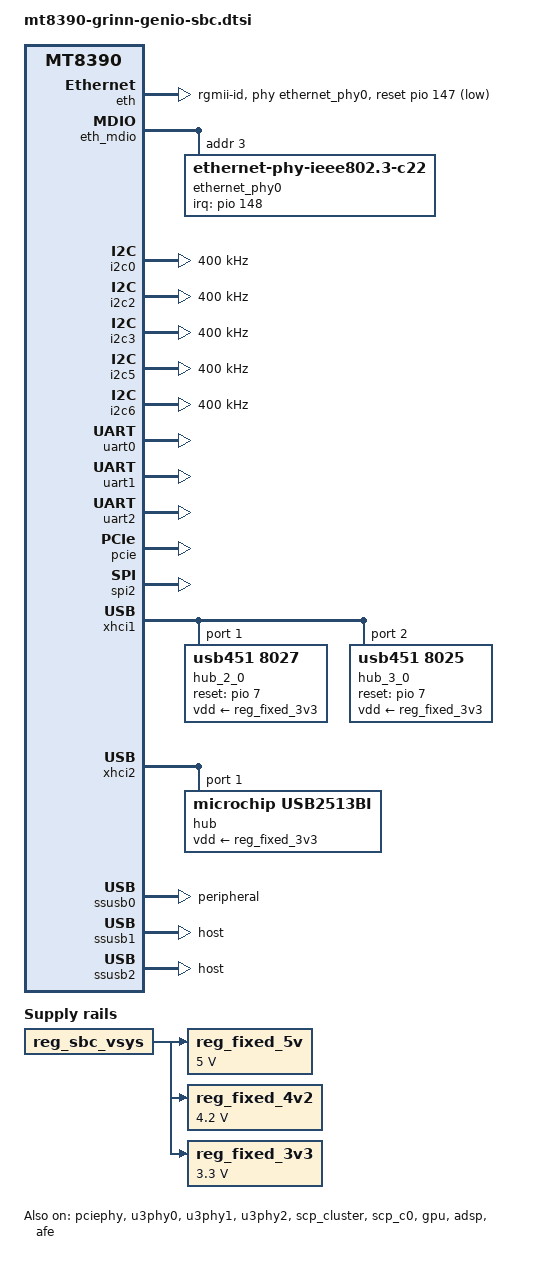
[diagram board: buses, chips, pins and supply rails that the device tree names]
// SPDX-License-Identifier: (GPL-2.0 OR MIT)
/*
 * Copyright (C) 2025 Grinn sp. z o.o.
 * Author: Mateusz Koza <mateusz.koza@grinn-global.com>
 */

#include <dt-bindings/gpio/gpio.h>

/ {
	chassis-type = "embedded";

	aliases {
		ethernet0 = &eth;
		i2c0 = &i2c0;
		i2c2 = &i2c2;
		i2c3 = &i2c3;
		i2c5 = &i2c5;
		i2c6 = &i2c6;
		serial0 = &uart0;
	};

	chosen {
		stdout-path = "serial0:921600n8";
	};

	firmware {
		optee {
			compatible = "linaro,optee-tz";
			method = "smc";
		};
	};

	reserved-memory {
		#address-cells = <2>;
		#size-cells = <2>;
		ranges;

		/*
		 * 12 MiB reserved for OP-TEE (BL32)
		 * +-----------------------+ 0x43e0_0000
		 * |      SHMEM 2MiB       |
		 * +-----------------------+ 0x43c0_0000
		 * |        | TA_RAM  8MiB |
		 * + TZDRAM +--------------+ 0x4340_0000
		 * |        | TEE_RAM 2MiB |
		 * +-----------------------+ 0x4320_0000
		 */
		optee_reserved: optee@43200000 {
			no-map;
			reg = <0 0x43200000 0 0x00c00000>;
		};

		scp_mem: memory@50000000 {
			compatible = "shared-dma-pool";
			reg = <0 0x50000000 0 0x2900000>;
			no-map;
		};

		/* 2 MiB reserved for ARM Trusted Firmware (BL31) */
		bl31_secmon_reserved: memory@54600000 {
			no-map;
			reg = <0 0x54600000 0x0 0x200000>;
		};

		apu_mem: memory@55000000 {
			compatible = "shared-dma-pool";
			reg = <0 0x55000000 0 0x1400000>; /* 20 MB */
		};

		vpu_mem: memory@57000000 {
			compatible = "shared-dma-pool";
			reg = <0 0x57000000 0 0x1400000>; /* 20 MB */
		};

		adsp_mem: memory@60000000 {
			compatible = "shared-dma-pool";
			reg = <0 0x60000000 0 0xf00000>;
			no-map;
		};

		afe_dma_mem: memory@60f00000 {
			compatible = "shared-dma-pool";
			reg = <0 0x60f00000 0 0x100000>;
			no-map;
		};

		adsp_dma_mem: memory@61000000 {
			compatible = "shared-dma-pool";
			reg = <0 0x61000000 0 0x100000>;
			no-map;
		};
	};

	reg_sbc_vsys: regulator-vsys {
		compatible = "regulator-fixed";
		regulator-name = "vsys";
		regulator-always-on;
		regulator-boot-on;
	};

	reg_fixed_5v: regulator-0 {
		compatible = "regulator-fixed";
		regulator-name = "fixed-5v0";
		regulator-min-microvolt = <5000000>;
		regulator-max-microvolt = <5000000>;
		enable-active-high;
		regulator-always-on;
		vin-supply = <&reg_sbc_vsys>;
	};

	reg_fixed_4v2: regulator-1 {
		compatible = "regulator-fixed";
		regulator-name = "fixed-4v2";
		regulator-min-microvolt = <4200000>;
		regulator-max-microvolt = <4200000>;
		enable-active-high;
		regulator-always-on;
		vin-supply = <&reg_sbc_vsys>;
	};

	reg_fixed_3v3: regulator-2 {
		compatible = "regulator-fixed";
		regulator-name = "fixed-3v3";
		regulator-min-microvolt = <3300000>;
		regulator-max-microvolt = <3300000>;
		enable-active-high;
		regulator-always-on;
		vin-supply = <&reg_sbc_vsys>;
	};
};

&pio {
	gpio-line-names =
	/*  0 -  4   */ "RPI_GPIO0", "RPI_GPIO1", "", "", "RPI_GPIO4",
	/*  5 -  9   */ "", "RPI_GPIO6", "", "", "RPI_GPIO9",
	/* 10 - 14   */ "RPI_GPIO10", "RPI_GPIO11", "", "", "",
	/* 15 - 19   */ "", "", "", "", "",
	/* 20 - 24   */ "", "RPI_GPIO21", "", "RPI_GPIO23", "",
	/* 25 - 29   */ "", "", "", "", "",
	/* 30 - 34   */ "RPI_GPIO30", "", "", "", "",
	/* 35 - 39   */ "RPI_GPIO35", "RPI_GPIO36", "", "", "",
	/* 40 - 44   */ "", "", "", "", "",
	/* 45 - 49   */ "", "", "", "", "",
	/* 50 - 54   */ "", "", "", "", "",
	/* 55 - 59   */ "RPI_GPIO55", "RPI_GPIO56", "", "", "RPI_GPIO59",
	/* 60 - 64   */ "RPI_GPIO60", "", "", "", "",
	/* 65 - 69   */ "", "", "", "", "RPI_GPIO69",
	/* 70 - 74   */ "", "", "RPI_GPIO72", "RPI_GPIO73", "RPI_GPIO74",
	/* 75 - 79   */ "", "", "", "", "RPI_GPIO79",
	/* 80 - 84   */ "RPI_GPIO80", "RPI_GPIO81", "RPI_GPIO82", "", "",
	/* 85 - 89   */ "", "", "", "", "",
	/* 90 - 94   */ "", "", "", "", "",
	/* 95 - 99   */ "", "", "", "", "",
	/*100 - 104  */ "", "", "", "", "",
	/*105 - 109  */ "", "", "", "", "",
	/*110 - 114  */ "", "", "", "", "",
	/*115 - 119  */ "", "", "", "", "",
	/*120 - 124  */ "", "RPI_GPIO121", "RPI_GPIO122", "RPI_GPIO123", "RPI_GPIO124";

	i2c0_pins: i2c0-pins {
		pins {
			pinmux = <PINMUX_GPIO56__FUNC_B1_SDA0>,
				 <PINMUX_GPIO55__FUNC_B1_SCL0>;
			bias-pull-up = <MTK_PULL_SET_RSEL_011>;
			drive-strength-microamp = <1000>;
		};
	};

	i2c2_pins: i2c2-pins {
		pins {
			pinmux = <PINMUX_GPIO60__FUNC_B1_SDA2>,
				 <PINMUX_GPIO59__FUNC_B1_SCL2>;
			bias-pull-up = <MTK_PULL_SET_RSEL_011>;
			drive-strength-microamp = <1000>;
		};
	};

	i2c3_pins: i2c3-pins {
		pins {
			pinmux = <PINMUX_GPIO62__FUNC_B1_SDA3>,
				 <PINMUX_GPIO61__FUNC_B1_SCL3>;
			bias-pull-up = <MTK_PULL_SET_RSEL_011>;
			drive-strength-microamp = <1000>;
		};
	};

	i2c5_pins: i2c5-pins {
		pins {
			pinmux = <PINMUX_GPIO66__FUNC_B1_SDA5>,
				 <PINMUX_GPIO65__FUNC_B1_SCL5>;
			bias-pull-up = <MTK_PULL_SET_RSEL_011>;
			drive-strength-microamp = <1000>;
		};
	};

	i2c6_pins: i2c6-pins {
		pins {
			pinmux = <PINMUX_GPIO68__FUNC_B1_SDA6>,
				 <PINMUX_GPIO67__FUNC_B1_SCL6>;
			bias-pull-up = <MTK_PULL_SET_RSEL_011>;
			drive-strength-microamp = <1000>;
		};
	};

	uart0_pins: uart0-pins {
		pins {
			pinmux = <PINMUX_GPIO31__FUNC_O_UTXD0>,
				 <PINMUX_GPIO32__FUNC_I1_URXD0>;
			bias-pull-up;
		};
	};

	uart1_pins: uart1-pins {
		pins {
			pinmux = <PINMUX_GPIO86__FUNC_O_UTXD1>,
				 <PINMUX_GPIO87__FUNC_I1_URXD1>;
			bias-pull-up;
		};
	};

	uart2_pins: uart2-pins {
		pins {
			pinmux = <PINMUX_GPIO35__FUNC_O_UTXD2>,
				 <PINMUX_GPIO36__FUNC_I1_URXD2>;
			bias-pull-up;
		};
	};

	pcie_pins_default: pcie-default {
		mux {
			pinmux = <PINMUX_GPIO47__FUNC_I1_WAKEN>,
				 <PINMUX_GPIO48__FUNC_O_PERSTN>,
				 <PINMUX_GPIO49__FUNC_B1_CLKREQN>;
			bias-pull-up;
		};
	};

	eth_default_pins: eth-default-pins {
		pins-cc {
			pinmux = <PINMUX_GPIO139__FUNC_B0_GBE_TXC>,
				 <PINMUX_GPIO140__FUNC_I0_GBE_RXC>,
				 <PINMUX_GPIO141__FUNC_I0_GBE_RXDV>,
				 <PINMUX_GPIO142__FUNC_O_GBE_TXEN>;
			drive-strength = <8>;
		};

		pins-mdio {
			pinmux = <PINMUX_GPIO143__FUNC_O_GBE_MDC>,
				 <PINMUX_GPIO144__FUNC_B1_GBE_MDIO>;
			drive-strength = <8>;
			input-enable;
		};

		pins-power {
			pinmux = <PINMUX_GPIO145__FUNC_B_GPIO145>,
				 <PINMUX_GPIO146__FUNC_B_GPIO146>;
			output-high;
		};

		pins-rxd {
			pinmux = <PINMUX_GPIO135__FUNC_I0_GBE_RXD3>,
				 <PINMUX_GPIO136__FUNC_I0_GBE_RXD2>,
				 <PINMUX_GPIO137__FUNC_I0_GBE_RXD1>,
				 <PINMUX_GPIO138__FUNC_I0_GBE_RXD0>;
			drive-strength = <8>;
		};

		pins-txd {
			pinmux = <PINMUX_GPIO131__FUNC_O_GBE_TXD3>,
				 <PINMUX_GPIO132__FUNC_O_GBE_TXD2>,
				 <PINMUX_GPIO133__FUNC_O_GBE_TXD1>,
				 <PINMUX_GPIO134__FUNC_O_GBE_TXD0>;
			drive-strength = <8>;
		};
	};

	eth_sleep_pins: eth-sleep-pins {
		pins-cc {
			pinmux = <PINMUX_GPIO139__FUNC_B_GPIO139>,
				 <PINMUX_GPIO140__FUNC_B_GPIO140>,
				 <PINMUX_GPIO141__FUNC_B_GPIO141>,
				 <PINMUX_GPIO142__FUNC_B_GPIO142>;
		};

		pins-mdio {
			pinmux = <PINMUX_GPIO143__FUNC_B_GPIO143>,
				 <PINMUX_GPIO144__FUNC_B_GPIO144>;
			input-disable;
			bias-disable;
		};

		pins-rxd {
			pinmux = <PINMUX_GPIO135__FUNC_B_GPIO135>,
				 <PINMUX_GPIO136__FUNC_B_GPIO136>,
				 <PINMUX_GPIO137__FUNC_B_GPIO137>,
				 <PINMUX_GPIO138__FUNC_B_GPIO138>;
		};

		pins-txd {
			pinmux = <PINMUX_GPIO131__FUNC_B_GPIO131>,
				 <PINMUX_GPIO132__FUNC_B_GPIO132>,
				 <PINMUX_GPIO133__FUNC_B_GPIO133>,
				 <PINMUX_GPIO134__FUNC_B_GPIO134>;
		};
	};

	spi2_pins: spi2-pins {
		pins-spi {
			pinmux = <PINMUX_GPIO79__FUNC_O_SPIM2_CSB>,
				<PINMUX_GPIO80__FUNC_O_SPIM2_CLK>,
				<PINMUX_GPIO81__FUNC_B0_SPIM2_MOSI>,
				<PINMUX_GPIO82__FUNC_B0_SPIM2_MISO>;
			bias-disable;
		};
	};

	audio_default_pins: audio-default-pins {
		pins-cmd-dat {
			pinmux = <PINMUX_GPIO121__FUNC_B0_PCM_CLK>,
				 <PINMUX_GPIO122__FUNC_B0_PCM_SYNC>,
				 <PINMUX_GPIO123__FUNC_O_PCM_DO>,
				 <PINMUX_GPIO124__FUNC_I0_PCM_DI>;
		};
	};

	usb_default_pins: usb-default-pins {
		pins-valid {
			pinmux = <PINMUX_GPIO85__FUNC_I0_VBUSVALID>;
			input-enable;
		};
	};
};

&eth {
	phy-mode = "rgmii-id";
	phy-handle = <&ethernet_phy0>;
	pinctrl-names = "default", "sleep";
	pinctrl-0 = <&eth_default_pins>;
	pinctrl-1 = <&eth_sleep_pins>;
	mediatek,mac-wol;
	mediatek,tx-delay-ps = <30>;
	snps,reset-active-low;
	snps,reset-delays-us = <0 11000 200000>;
	snps,reset-gpio = <&pio 147 GPIO_ACTIVE_LOW>;
	status = "okay";
};

&eth_mdio {
	ethernet_phy0: ethernet-phy@3 {
		compatible = "ethernet-phy-ieee802.3-c22";
		reg = <3>;
		interrupts-extended = <&pio 148 IRQ_TYPE_LEVEL_LOW>;
		eee-broken-1000t;
	};
};

&i2c0 {
	pinctrl-names = "default";
	pinctrl-0 = <&i2c0_pins>;
	clock-frequency = <400000>;
	status = "okay";
};

&i2c2 {
	pinctrl-names = "default";
	pinctrl-0 = <&i2c2_pins>;
	clock-frequency = <400000>;
	status = "okay";
};

&i2c3 {
	pinctrl-names = "default";
	pinctrl-0 = <&i2c3_pins>;
	clock-frequency = <400000>;
	status = "okay";
};

&i2c5 {
	pinctrl-names = "default";
	pinctrl-0 = <&i2c5_pins>;
	clock-frequency = <400000>;
	status = "okay";
};

&i2c6 {
	pinctrl-names = "default";
	pinctrl-0 = <&i2c6_pins>;
	clock-frequency = <400000>;
	status = "okay";
};

&uart0 {
	pinctrl-names = "default";
	pinctrl-0 = <&uart0_pins>;
	status = "okay";
};

&uart1 {
	pinctrl-names = "default";
	pinctrl-0 = <&uart1_pins>;
	status = "okay";
};

&uart2 {
	pinctrl-names = "default";
	pinctrl-0 = <&uart2_pins>;
	status = "okay";
};

&pcie {
	pinctrl-names = "default";
	pinctrl-0 = <&pcie_pins_default>;
	status = "okay";
};

&pciephy {
	status = "okay";
};

&spi2 {
	pinctrl-names = "default";
	pinctrl-0 = <&spi2_pins>;
	mediatek,pad-select = <0>;
	#address-cells = <1>;
	#size-cells = <0>;
	status = "okay";
};

&u3phy0 {
	status = "okay";
};

&u3phy1 {
	status = "okay";
};

&u3phy2 {
	status = "okay";
};

&xhci1 {
	#address-cells = <1>;
	#size-cells = <0>;
	vusb33-supply = <&mt6359_vusb_ldo_reg>;
	status = "okay";

	hub_2_0: hub@1 {
		compatible = "usb451,8027";
		reg = <1>;
		peer-hub = <&hub_3_0>;
		reset-gpios = <&pio 7 GPIO_ACTIVE_HIGH>;
		vdd-supply = <&reg_fixed_3v3>;
	};

	hub_3_0: hub@2 {
		compatible = "usb451,8025";
		reg = <2>;
		peer-hub = <&hub_2_0>;
		reset-gpios = <&pio 7 GPIO_ACTIVE_HIGH>;
		vdd-supply = <&reg_fixed_3v3>;
	};
};

&xhci2 {
	#address-cells = <1>;
	#size-cells = <0>;
	vusb33-supply = <&mt6359_vusb_ldo_reg>;
	status = "okay";

	hub@1 {
		compatible = "microchip,usb2513bi";
		reg = <1>;
		vdd-supply = <&reg_fixed_3v3>;
	};
};

&ssusb0 {
	dr_mode = "peripheral";
	pinctrl-names = "default";
	pinctrl-0 = <&usb_default_pins>;
	vusb33-supply = <&mt6359_vusb_ldo_reg>;
	status = "okay";
};

&ssusb1 {
	dr_mode = "host";
	maximum-speed = "super-speed";
	vusb33-supply = <&mt6359_vusb_ldo_reg>;
	status = "okay";
};

&ssusb2 {
	dr_mode = "host";
	maximum-speed = "high-speed";
	vusb33-supply = <&mt6359_vusb_ldo_reg>;
	status = "okay";
};

&scp_cluster {
	status = "okay";
};

&scp_c0 {
	memory-region = <&scp_mem>;
	status = "okay";
};

&gpu {
	mali-supply = <&mt6359_vproc2_buck_reg>;
	status = "okay";
};

&adsp {
	memory-region = <&adsp_dma_mem>, <&adsp_mem>;
	status = "okay";
};

&afe {
	memory-region = <&afe_dma_mem>;
	status = "okay";
};

&sound {
	compatible = "mediatek,mt8390-mt6359-evk", "mediatek,mt8188-mt6359-evb";
	model = "mt8390-evk";
	pinctrl-names = "default";
	pinctrl-0 = <&audio_default_pins>;
	audio-routing =
		"Headphone", "Headphone L",
		"Headphone", "Headphone R",
		"AP DMIC", "AUDGLB",
		"AP DMIC", "MIC_BIAS_0",
		"AP DMIC", "MIC_BIAS_2",
		"DMIC_INPUT", "AP DMIC";

	mediatek,adsp = <&adsp>;
	status = "okay";
};
